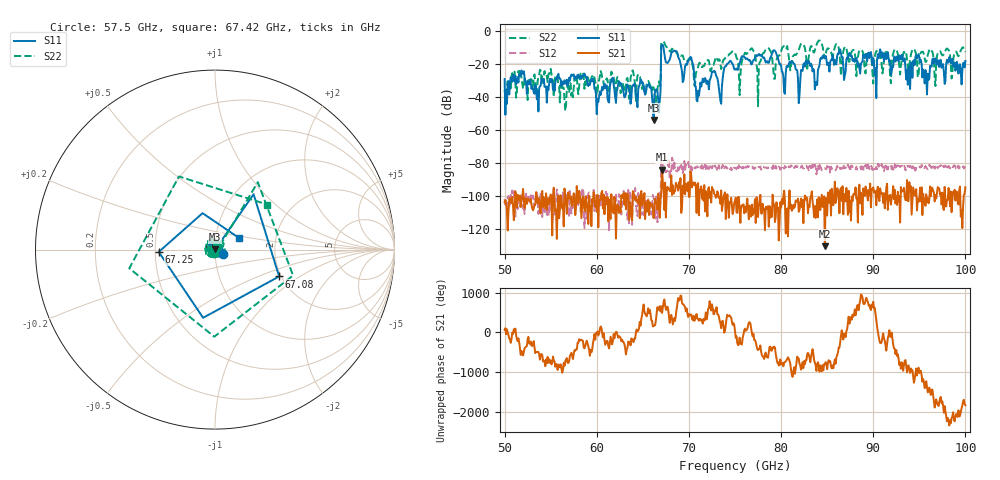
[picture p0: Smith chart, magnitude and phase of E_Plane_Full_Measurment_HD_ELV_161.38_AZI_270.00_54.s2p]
! 11/26/2026 3:44:17 PM
! C:\ANRITSUVNA\TEMP\TEMP.S2P
! CHANNEL.1
! TR.MEASUREMENT
! RAW.DATA
# HZ S RI R 50.0
! FREQ.HZ  S11RE  S11IM  S21RE  S21IM  S12RE  S12IM  S22RE  S22IM
!; PortSelection: Port_12
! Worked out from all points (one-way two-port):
!   601 points, 50 GHz to 100 GHz, reference 50 ohm
!   highest |S21| = -84.07 dB at 67.08 GHz (marker M1); lowest = -130.5 dB at 84.75 GHz (marker M2)
!   lowest |S11| = -53.8 dB at 66.17 GHz (marker M3), VSWR 1.00, Z = 50.1 + j0.15 ohm
!   |S11| at or under -10 dB: start of sweep to 67 GHz; 67.25 GHz to end of sweep
!   |S22| runs from -48.3 to -5.6 dB; largest |S21 - S12| = 0.00015
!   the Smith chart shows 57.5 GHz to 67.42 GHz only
!   S11 on the Smith chart (normalised r, x): 57.5 GHz: 1.09, -0.05; 67.08 GHz: 1.95, -0.69; 67.25 GHz: 0.52, -0.01; 67.42 GHz: 1.29, +0.17
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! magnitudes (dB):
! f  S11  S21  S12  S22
! 50 GHz  -28.9  -103.8  -101.7  -35.6
! 51.67 GHz  -26.3  -99.7  -106.4  -23.2
! 57.5 GHz  -26.1  -98.3  -102.0  -34.6
! 58.42 GHz  -27.2  -106.8  -96.8  -24.8
! 60.17 GHz  -42.8  -119.0  -102.2  -30.4
! 66.17 GHz  -53.8  -113.4  -101.4  -34.0
! 66.67 GHz  -41.5  -98.6  -101.2  -31.6
! 67.08 GHz  -8.2  -84.1  -88.5  -6.8
! 67.25 GHz  -10.1  -96.0  -85.8  -6.2
! 67.42 GHz  -16.6  -91.9  -84.3  -8.3
! 70.25 GHz  -15.9  -87.4  -80.8  -18.8
! 70.92 GHz  -42.5  -93.1  -82.0  -23.2
! 75 GHz  -23.3  -103.1  -82.9  -12.9
! 79.25 GHz  -11.5  -105.2  -83.4  -28.9
! 80.25 GHz  -27.7  -100.3  -83.0  -9.3
! 83.42 GHz  -24.4  -103.2  -82.8  -10.8
! 84.75 GHz  -16.0  -130.5  -83.2  -16.6
! 91.67 GHz  -16.6  -100.0  -81.4  -15.2
! 93.75 GHz  -32.5  -103.0  -82.3  -21.3
! 94.83 GHz  -15.1  -101.5  -81.7  -27.9
! 95.83 GHz  -38.3  -103.7  -83.3  -16.5
! 100 GHz  -18.0  -94.7  -82.9  -12.6
